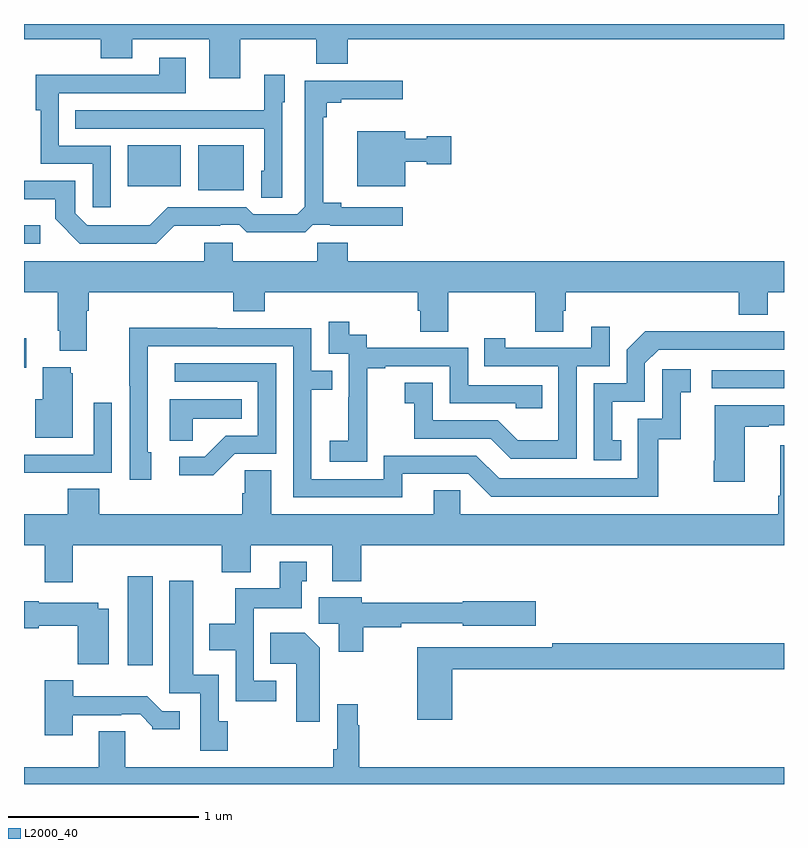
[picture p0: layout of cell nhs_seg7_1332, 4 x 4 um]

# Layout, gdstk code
import gdstk
lib = gdstk.Library(unit=1e-6, precision=1e-09)
def R(c, l, rs):  # rectangles x0, y0, x1, y1
    for r in rs: c.add(gdstk.rectangle(r[:2], r[2:], *l))
def P(c, l, *ps):  # polygons
    for p in ps: c.add(gdstk.Polygon(p, *l))
L2000_40 = (2000, 40)

nhs_seg7_1332 = lib.new_cell('nhs_seg7_1332')
R(nhs_seg7_1332, L2000_40, [(203.546,1026.624,203.677,1027.093), (206.619,1028.082,207,1028.178), (203,1028.191,203.011,1028.347), (203,1028.844,203.086,1028.941), (203.918,1029.125,204.157,1029.361), (203.546,1029.146,203.824,1029.361)])
P(nhs_seg7_1332, L2000_40, [(204.139,1029.92),(204.539,1029.92),(204.539,1029.792),(204.703,1029.792),(204.703,1029.92),(207,1029.92),(207,1030),(203,1030),(203,1029.92),(203.405,1029.92),(203.405,1029.821),(203.569,1029.821),(203.569,1029.92),(203.975,1029.92),(203.975,1029.714),(204.139,1029.714)],
  [(203.457,1029.36),(203.184,1029.36),(203.184,1029.636),(203.851,1029.636),(203.851,1029.823),(203.711,1029.823),(203.711,1029.732),(203.281,1029.732),(203.281,1029.734),(203.063,1029.734),(203.063,1029.546),(203.088,1029.546),(203.088,1029.264),(203.361,1029.264),(203.361,1029.036),(203.457,1029.036)],
  [(204.36,1029.588),(204.373,1029.588),(204.373,1029.733),(204.264,1029.733),(204.264,1029.547),(203.947,1029.547),(203.947,1029.546),(203.269,1029.546),(203.269,1029.45),(204.264,1029.45),(204.264,1029.228),(204.248,1029.228),(204.248,1029.085),(204.36,1029.085)],
  [(203.792,1028.939),(204.032,1028.939),(204.032,1028.943),(204.132,1028.943),(204.172,1028.904),(204.479,1028.904),(204.519,1028.943),(204.613,1028.943),(204.613,1028.939),(204.994,1028.939),(204.994,1029.036),(204.67,1029.036),(204.67,1029.059),(204.575,1029.059),(204.575,1029.509),(204.593,1029.509),(204.593,1029.586),(204.67,1029.586),(204.67,1029.605),(204.994,1029.605),(204.994,1029.702),(204.477,1029.702),(204.477,1029.039),(204.438,1029),(204.207,1029),(204.171,1029.036),(203.757,1029.036),(203.663,1028.942),(203.558,1028.942),(203.558,1028.94),(203.334,1028.94),(203.271,1029.003),(203.271,1029.174),(203,1029.174),(203,1029.077),(203.164,1029.077),(203.164,1028.975),(203.294,1028.844),(203.697,1028.844)],
  [(205.006,1029.275),(205.119,1029.275),(205.119,1029.263),(205.249,1029.263),(205.249,1029.41),(205.119,1029.41),(205.119,1029.397),(205.006,1029.397),(205.006,1029.436),(204.755,1029.436),(204.755,1029.146),(205.006,1029.146)],
  [(203,1028.588),(203.177,1028.588),(203.177,1028.386),(203.189,1028.386),(203.189,1028.279),(203.329,1028.279),(203.329,1028.492),(203.342,1028.492),(203.342,1028.588),(204.101,1028.588),(204.101,1028.489),(204.266,1028.489),(204.266,1028.588),(205.073,1028.588),(205.073,1028.49),(205.085,1028.49),(205.085,1028.38),(205.233,1028.38),(205.233,1028.588),(205.69,1028.588),(205.69,1028.38),(205.837,1028.38),(205.837,1028.49),(205.85,1028.49),(205.85,1028.588),(206.762,1028.588),(206.762,1028.471),(206.914,1028.471),(206.914,1028.588),(207,1028.588),(207,1028.752),(204.704,1028.752),(204.704,1028.85),(204.544,1028.85),(204.544,1028.752),(204.099,1028.752),(204.099,1028.85),(203.948,1028.85),(203.948,1028.752),(203,1028.752)],
  [(204.807,1027.903),(204.806,1027.903),(204.806,1028.187),(204.901,1028.187),(204.901,1028.199),(205.242,1028.199),(205.242,1028.004),(205.587,1028.004),(205.587,1027.977),(205.727,1027.977),(205.727,1028.1),(205.338,1028.1),(205.338,1028.295),(204.804,1028.295),(204.804,1028.364),(204.712,1028.364),(204.712,1028.434),(204.603,1028.434),(204.603,1028.265),(204.708,1028.265),(204.708,1028.036),(204.707,1028.036),(204.707,1027.807),(204.609,1027.807),(204.609,1027.697),(204.807,1027.697)],
  [(205.908,1028.199),(206.082,1028.199),(206.082,1028.407),(205.985,1028.407),(205.985,1028.295),(205.534,1028.295),(205.534,1028.347),(205.423,1028.347),(205.423,1028.199),(205.812,1028.199),(205.812,1027.81),(205.598,1027.81),(205.494,1027.914),(205.152,1027.914),(205.152,1028.113),(205.005,1028.113),(205.005,1028.003),(205.054,1028.003),(205.054,1027.818),(205.457,1027.818),(205.562,1027.713),(205.908,1027.713)],
  [(204.991,1027.632),(205.338,1027.632),(205.458,1027.512),(206.338,1027.512),(206.338,1027.815),(206.456,1027.815),(206.456,1028.061),(206.509,1028.061),(206.509,1028.182),(206.358,1028.182),(206.358,1027.923),(206.229,1027.923),(206.229,1027.608),(205.5,1027.608),(205.38,1027.728),(204.894,1027.728),(204.894,1027.605),(204.513,1027.605),(204.513,1028.074),(204.623,1028.074),(204.623,1028.175),(204.513,1028.175),(204.513,1028.4),(204.017,1028.4),(204.017,1028.402),(203.554,1028.402),(203.554,1028.095),(203.556,1028.095),(203.556,1027.602),(203.671,1027.602),(203.671,1027.746),(203.652,1027.746),(203.652,1028.304),(204.417,1028.304),(204.417,1027.509),(204.991,1027.509)],
  [(206.144,1027.809),(206.095,1027.809),(206.095,1028.013),(206.268,1028.013),(206.268,1028.214),(206.34,1028.286),(207,1028.286),(207,1028.382),(206.678,1028.382),(206.678,1028.384),(206.27,1028.384),(206.172,1028.286),(206.172,1028.109),(205.998,1028.109),(205.998,1027.704),(206.144,1027.704)],
  [(204.108,1027.737),(204.327,1027.737),(204.327,1028.214),(203.793,1028.214),(203.793,1028.118),(204.231,1028.118),(204.231,1027.833),(204.062,1027.833),(203.951,1027.722),(203.817,1027.722),(203.817,1027.625),(203.995,1027.625)],
  [(203.257,1028.163),(203.246,1028.163),(203.246,1028.194),(203.099,1028.194),(203.099,1028.026),(203.06,1028.026),(203.06,1027.823),(203.257,1027.823)],
  [(203.889,1027.922),(204.146,1027.922),(204.146,1028.026),(203.768,1028.026),(203.768,1027.807),(203.889,1027.807)],
  [(203.147,1027.638),(203.463,1027.638),(203.463,1028.007),(203.367,1028.007),(203.367,1027.734),(203,1027.734),(203,1027.637),(203.147,1027.637)],
  [(206.794,1027.879),(206.921,1027.879),(206.921,1027.889),(207,1027.889),(207,1027.993),(206.636,1027.993),(206.636,1027.702),(206.629,1027.702),(206.629,1027.59),(206.794,1027.59)],
  [(203.257,1027.256),(204.041,1027.256),(204.041,1027.115),(204.193,1027.115),(204.193,1027.256),(204.623,1027.256),(204.623,1027.067),(204.776,1027.067),(204.776,1027.256),(207,1027.256),(207,1027.783),(206.981,1027.783),(206.981,1027.516),(206.969,1027.516),(206.969,1027.42),(205.296,1027.42),(205.296,1027.547),(205.157,1027.547),(205.157,1027.42),(204.301,1027.42),(204.301,1027.652),(204.162,1027.652),(204.162,1027.529),(204.149,1027.529),(204.149,1027.42),(203.396,1027.42),(203.396,1027.553),(203.231,1027.553),(203.231,1027.42),(203,1027.42),(203,1027.256),(203.11,1027.256),(203.11,1027.062),(203.257,1027.062)],
  [(204.328,1026.543),(204.21,1026.543),(204.21,1026.926),(204.463,1026.926),(204.463,1027.068),(204.487,1027.068),(204.487,1027.171),(204.347,1027.171),(204.347,1027.03),(204.112,1027.03),(204.112,1026.844),(203.975,1026.844),(203.975,1026.704),(204.114,1026.704),(204.114,1026.435),(204.328,1026.435)],
  [(204.072,1026.33),(204.024,1026.33),(204.024,1026.574),(203.89,1026.574),(203.89,1027.069),(203.765,1027.069),(203.765,1026.477),(203.928,1026.477),(203.928,1026.174),(204.072,1026.174)],
  [(204.786,1026.826),(204.986,1026.826),(204.986,1026.846),(205.308,1026.846),(205.308,1026.833),(205.693,1026.833),(205.693,1026.963),(205.308,1026.963),(205.308,1026.955),(204.778,1026.955),(204.778,1026.982),(204.551,1026.982),(204.551,1026.844),(204.656,1026.844),(204.656,1026.696),(204.786,1026.696)],
  [(203.446,1026.922),(203.391,1026.922),(203.391,1026.955),(203.077,1026.955),(203.077,1026.963),(203,1026.963),(203,1026.821),(203.077,1026.821),(203.077,1026.833),(203.284,1026.833),(203.284,1026.629),(203.446,1026.629)],
  [(204.556,1026.718),(204.478,1026.796),(204.295,1026.796),(204.295,1026.632),(204.434,1026.632),(204.434,1026.327),(204.556,1026.327)],
  [(205.253,1026.604),(207,1026.604),(207,1026.74),(205.78,1026.74),(205.78,1026.72),(205.07,1026.72),(205.07,1026.339),(205.253,1026.339)],
  [(203.257,1026.363),(203.513,1026.363),(203.513,1026.366),(203.612,1026.366),(203.676,1026.302),(203.676,1026.287),(203.821,1026.287),(203.821,1026.384),(203.727,1026.384),(203.649,1026.463),(203.26,1026.463),(203.26,1026.547),(203.11,1026.547),(203.11,1026.257),(203.257,1026.257)],
  [(207,1026.088),(204.764,1026.088),(204.764,1026.308),(204.757,1026.308),(204.757,1026.421),(204.648,1026.421),(204.648,1026.184),(204.628,1026.184),(204.628,1026.088),(203.533,1026.088),(203.533,1026.278),(203.393,1026.278),(203.393,1026.088),(203,1026.088),(203,1026),(207,1026)])

lib.write_gds('nhs_seg7_1332.gds')
